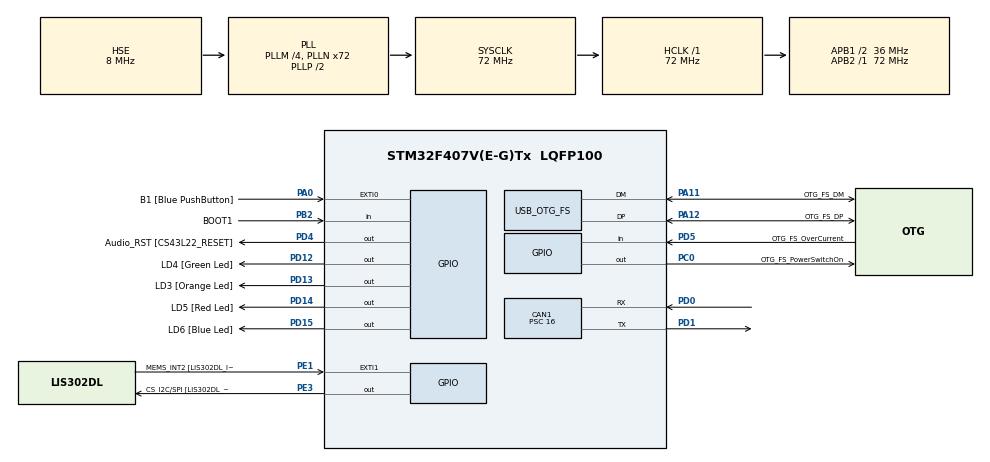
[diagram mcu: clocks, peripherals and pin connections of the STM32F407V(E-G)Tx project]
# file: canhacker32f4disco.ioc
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CAN1.BS1=CAN_BS1_4TQ
CAN1.BS2=CAN_BS2_4TQ
CAN1.CalculateBaudRate=250000
CAN1.CalculateTimeBit=3999.99
CAN1.CalculateTimeQuantum=444.44444444444446
CAN1.Prescaler=16
Mcu.Family=STM32F4
Mcu.Name=STM32F407V(E-G)Tx
Mcu.Package=LQFP100
NVIC.OTG_FS_IRQn=true\:0\:0\:false\:false\:true\:false\:true
NVIC.PriorityGroup=NVIC_PRIORITYGROUP_0
PA0-WKUP.GPIO_Label=B1 [Blue PushButton]
PA0-WKUP.Signal=GPXTI0
PA10.GPIO_Label=OTG_FS_ID
PA10.GPIO_Mode=GPIO_MODE_AF_PP
PA10.GPIO_PuPd=GPIO_NOPULL
PA10.GPIO_Speed=GPIO_SPEED_FREQ_LOW
PA10.Signal=USB_OTG_FS_ID
PA11.GPIO_Label=OTG_FS_DM
PA11.GPIO_Mode=GPIO_MODE_AF_PP
PA11.GPIO_PuPd=GPIO_NOPULL
PA11.GPIO_Speed=GPIO_SPEED_FREQ_LOW
PA11.Mode=Device_Only
PA11.Signal=USB_OTG_FS_DM
PA12.GPIO_Label=OTG_FS_DP
PA12.GPIO_Mode=GPIO_MODE_AF_PP
PA12.GPIO_PuPd=GPIO_NOPULL
PA12.GPIO_Speed=GPIO_SPEED_FREQ_LOW
PA12.Mode=Device_Only
PA12.Signal=USB_OTG_FS_DP
PA13.GPIO_Label=SWDIO
PA13.Signal=SYS_JTMS-SWDIO
PA14.GPIO_Label=SWCLK
PA14.Signal=SYS_JTCK-SWCLK
PA4.GPIO_Label=I2S3_WS [CS43L22_LRCK]
PA4.GPIO_Mode=GPIO_MODE_AF_PP
PA4.GPIO_PuPd=GPIO_NOPULL
PA4.GPIO_Speed=GPIO_SPEED_FREQ_LOW
PA4.Signal=I2S3_WS
PA5.GPIO_Label=SPI1_SCK [LIS302DL_SCL/SPC]
PA5.GPIO_Mode=GPIO_MODE_AF_PP
PA5.GPIO_PuPd=GPIO_NOPULL
PA5.GPIO_Speed=GPIO_SPEED_FREQ_LOW
PA5.Signal=SPI1_SCK
PA6.GPIO_Label=SPI1_MISO [LIS302DL_SDO]
PA6.GPIO_Mode=GPIO_MODE_AF_PP
PA6.GPIO_PuPd=GPIO_NOPULL
PA6.GPIO_Speed=GPIO_SPEED_FREQ_LOW
PA6.Signal=SPI1_MISO
PA7.GPIO_Label=SPI1_MOSI [LIS302DL_SDA/SDI/SDO]
PA7.GPIO_Mode=GPIO_MODE_AF_PP
PA7.GPIO_PuPd=GPIO_NOPULL
PA7.GPIO_Speed=GPIO_SPEED_FREQ_LOW
PA7.Signal=SPI1_MOSI
PA9.GPIO_Label=VBUS_FS
PA9.GPIO_Mode=GPIO_MODE_INPUT
PA9.GPIO_PuPd=GPIO_NOPULL
PA9.Signal=USB_OTG_FS_VBUS
PB10.GPIO_Label=CLK_IN [MP45DT02_CLK]
PB10.GPIO_Mode=GPIO_MODE_AF_PP
PB10.GPIO_PuPd=GPIO_NOPULL
PB10.GPIO_Speed=GPIO_SPEED_FREQ_LOW
PB10.Signal=I2S2_CK
PB2.GPIO_Label=BOOT1
PB2.GPIO_Mode=GPIO_MODE_INPUT
PB2.GPIO_PuPd=GPIO_NOPULL
PB2.Signal=GPIO_Input
PB3.GPIO_Label=SWO
PB3.Signal=SYS_JTDO-SWO
PB6.GPIO_Label=Audio_SCL [CS43L22_SCL]
PB6.GPIO_Mode=GPIO_MODE_AF_OD
PB6.GPIO_PuPd=GPIO_NOPULL
PB6.GPIO_Speed=GPIO_SPEED_FREQ_LOW
PB6.Signal=I2C1_SCL
PB9.GPIO_Label=Audio_SDA [CS43L22_SDA]
PB9.GPIO_Mode=GPIO_MODE_AF_OD
PB9.GPIO_PuPd=GPIO_NOPULL
PB9.GPIO_Speed=GPIO_SPEED_FREQ_LOW
PB9.Signal=I2C1_SDA
PC0.GPIO_Label=OTG_FS_PowerSwitchOn
PC0.GPIO_PuPd=GPIO_NOPULL
PC0.GPIO_Speed=GPIO_SPEED_FREQ_LOW
PC0.PinState=GPIO_PIN_SET
PC0.Signal=GPIO_Output
PC10.GPIO_Label=I2S3_SCK [CS43L22_SCLK]
PC10.GPIO_Mode=GPIO_MODE_AF_PP
PC10.GPIO_PuPd=GPIO_NOPULL
PC10.GPIO_Speed=GPIO_SPEED_FREQ_LOW
PC10.Signal=I2S3_CK
PC12.GPIO_Label=I2S3_SD [CS43L22_SDIN]
PC12.GPIO_Mode=GPIO_MODE_AF_PP
PC12.GPIO_PuPd=GPIO_NOPULL
PC12.GPIO_Speed=GPIO_SPEED_FREQ_LOW
PC12.Signal=I2S3_SD
PC14-OSC32_IN.GPIO_Label=PC14-OSC32_IN
PC14-OSC32_IN.Signal=RCC_OSC32_IN
PC15-OSC32_OUT.GPIO_Label=PC15-OSC32_OUT
PC15-OSC32_OUT.Signal=RCC_OSC32_OUT
PC3.GPIO_Label=PDM_OUT [MP45DT02_DOUT]
PC3.GPIO_Mode=GPIO_MODE_AF_PP
PC3.GPIO_PuPd=GPIO_NOPULL
PC3.GPIO_Speed=GPIO_SPEED_FREQ_LOW
PC3.Signal=I2S2_SD
PC7.GPIO_Label=I2S3_MCK [CS43L22_MCLK]
PC7.GPIO_Mode=GPIO_MODE_AF_PP
PC7.GPIO_PuPd=GPIO_NOPULL
PC7.GPIO_Speed=GPIO_SPEED_FREQ_LOW
PC7.Signal=I2S3_MCK
PD0.Mode=CAN_Activate
PD0.Signal=CAN1_RX
PD1.Mode=CAN_Activate
PD1.Signal=CAN1_TX
PD12.GPIO_Label=LD4 [Green Led]
PD12.GPIO_PuPd=GPIO_NOPULL
PD12.GPIO_Speed=GPIO_SPEED_FREQ_LOW
PD12.Signal=GPIO_Output
PD13.GPIO_Label=LD3 [Orange Led]
PD13.GPIO_PuPd=GPIO_NOPULL
PD13.GPIO_Speed=GPIO_SPEED_FREQ_LOW
PD13.Signal=GPIO_Output
PD14.GPIO_Label=LD5 [Red Led]
PD14.GPIO_PuPd=GPIO_NOPULL
PD14.GPIO_Speed=GPIO_SPEED_FREQ_LOW
PD14.Signal=GPIO_Output
PD15.GPIO_Label=LD6 [Blue Led]
PD15.GPIO_PuPd=GPIO_NOPULL
PD15.GPIO_Speed=GPIO_SPEED_FREQ_LOW
PD15.Signal=GPIO_Output
PD4.GPIO_Label=Audio_RST [CS43L22_RESET]
PD4.GPIO_PuPd=GPIO_NOPULL
PD4.GPIO_Speed=GPIO_SPEED_FREQ_LOW
PD4.Signal=GPIO_Output
PD5.GPIO_Label=OTG_FS_OverCurrent
PD5.GPIO_Mode=GPIO_MODE_INPUT
PD5.GPIO_PuPd=GPIO_NOPULL
PD5.Signal=GPIO_Input
PE1.GPIO_Label=MEMS_INT2 [LIS302DL_INT2]
PE1.GPIO_ModeDefaultEXTI=GPIO_MODE_EVT_RISING
PE1.GPIO_PuPd=GPIO_NOPULL
PE1.Signal=GPXTI1
PE3.GPIO_Label=CS_I2C/SPI [LIS302DL_CS_I2C/SPI]
PE3.GPIO_PuPd=GPIO_NOPULL
PE3.GPIO_Speed=GPIO_SPEED_FREQ_LOW
PE3.Signal=GPIO_Output
PH0-OSC_IN.GPIO_Label=PH0-OSC_IN
PH0-OSC_IN.Mode=HSE-External-Oscillator
PH0-OSC_IN.Signal=RCC_OSC_IN
PH1-OSC_OUT.GPIO_Label=PH1-OSC_OUT
PH1-OSC_OUT.Mode=HSE-External-Oscillator
PH1-OSC_OUT.Signal=RCC_OSC_OUT
ProjectManager.HeapSize=0x200
ProjectManager.StackSize=0x400
ProjectManager.TargetToolchain=EWARM V8.32
RCC.48MHZClocksFreq_Value=48000000
RCC.AHBFreq_Value=72000000
RCC.APB1CLKDivider=RCC_HCLK_DIV2
RCC.APB1Freq_Value=36000000
RCC.APB1TimFreq_Value=72000000
RCC.APB2Freq_Value=72000000
RCC.APB2TimFreq_Value=72000000
RCC.CortexFreq_Value=72000000
RCC.HCLKFreq_Value=72000000
RCC.HSE_VALUE=8000000
RCC.HSI_VALUE=16000000
RCC.LSE_VALUE=32768
RCC.PLLM=4
RCC.PLLN=72
RCC.PLLQ=3
RCC.SYSCLKFreq_VALUE=72000000
RCC.SYSCLKSource=RCC_SYSCLKSOURCE_PLLCLK
RCC.VCOOutputFreq_Value=144000000
TIM5.Period=999
TIM5.Prescaler=71
USB_DEVICE.CLASS_NAME_FS=CDC
USB_DEVICE.VirtualMode-CDC_FS=Cdc
USB_DEVICE.VirtualModeFS=Cdc_FS
USB_OTG_FS.VirtualMode=Device_Only
VP_TIM5_VS_ClockSourceINT.Mode=Internal
VP_USB_DEVICE_VS_USB_DEVICE_CDC_FS.Mode=CDC_FS
board=STM32F407G-DISC1

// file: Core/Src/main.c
/* USER CODE BEGIN Header */
/**
  ******************************************************************************
  * @file           : main.c
  * @brief          : Main program body
  ******************************************************************************
  * @attention
  *
  * <h2><center>&copy; Copyright (c) 2022 STMicroelectronics.
  * All rights reserved.</center></h2>
  *
  * This software component is licensed by ST under Ultimate Liberty license
  * SLA0044, the "License"; You may not use this file except in compliance with
  * the License. You may obtain a copy of the License at:
  *                             www.st.com/SLA0044
  *
  ******************************************************************************
  */
/* USER CODE END Header */
#include "main.h"
#include "can.h"
#include "tim.h"
#include "usb_device.h"
#include "gpio.h"

/* USER CODE BEGIN Includes */
#include "usbd_cdc_if.h"
#include "strings.h"
/* USER CODE END Includes */

/* USER CODE BEGIN PV */

uint32_t tim5cnt;
uint8_t bufferTextCan[256];
uint32_t ticStartLog;

CAN_TxHeaderTypeDef TxHeader;
CAN_RxHeaderTypeDef RxHeader;

uint8_t TxData[8];
uint8_t RxData[8];

uint32_t TxMailbox;
uint32_t mailBoxNum = 0;

uint8_t bufferCmd[128];

void HAL_CAN_RxFifo0MsgPendingCallback(CAN_HandleTypeDef *hcan)
{
	uint8_t sendLen;

	if (HAL_CAN_GetRxMessage(hcan, CAN_RX_FIFO0, &RxHeader, RxData) == HAL_OK)
	{
	    HAL_GPIO_WritePin(LD4_GPIO_Port, LD4_Pin, GPIO_PIN_SET);

		if (RxHeader.IDE == CAN_ID_EXT){
	        sendLen = sprintf((char*)bufferTextCan, "T%8.8X%1.1X", \
				(unsigned int)RxHeader.ExtId, \
				(unsigned int)RxHeader.DLC);
		}
		else{
	        sendLen = sprintf((char*)bufferTextCan, "t%3.3X%1.1X", \
				(unsigned int)RxHeader.StdId, \
				(unsigned int)RxHeader.DLC);
		}

		for (uint8_t cnt = 0; cnt < RxHeader.DLC; cnt ++)
		{
			sendLen += sprintf((char*)bufferTextCan + sendLen, "%2.2X", RxData[cnt]);
		}

		sendLen += sprintf((char*)bufferTextCan + sendLen, "%4.4X\r", (unsigned int)htim5.Instance->CNT);

	    tim5cnt = htim5.Instance->CNT;
	    CDC_Transmit_FS(bufferTextCan, sendLen);
	}
}

typedef enum
{
  CONVERT_ERROR = 0,
  CONVERT_OK
}ConvertReturnType;

uint8_t HexToHalfByte(uint8_t hex)
{
  if(hex >= '0' && hex <= '9')
    return hex - '0';
  else if(hex >= 'A' && hex <= 'F')
    return 10 + (hex - 'A');
  else if(hex >= 'a' && hex <= 'f')
    return 10 + (hex - 'a');

  return 0;
}

ConvertReturnType IsHex(uint8_t hex)
{
  if((hex >= '0' && hex <= '9') || (hex >= 'A' && hex <= 'F') || (hex >= 'a' && hex <= 'b'))
    return CONVERT_OK;

  return CONVERT_ERROR;
}

ConvertReturnType HexToByte(uint8_t * hex, uint8_t * data){
  *data = 0;

  for(uint8_t idx = 0; idx < 2; idx++)
  {
    if(IsHex(hex[idx]) == CONVERT_ERROR)
      return CONVERT_ERROR;

    *data |= (HexToHalfByte(hex[idx]) & 0xF) << (4 * (1-idx));
  }

  return CONVERT_OK;
}

uint16_t FindSymbol(uint8_t * string, uint8_t symbol){
  uint16_t index = 0;

  while(*string != symbol)
  {
    if(++index == 0xFFFF)
      return 0xFFFF;
    string++;
  }

  return index;
}

void CDC_Receive(uint8_t* Buf, uint32_t *Len){
	uint8_t sendLen = 0, byte;
	uint32_t id;

	switch(Buf[0])
	{
	  case 'L':
	    hcan1.Init.Mode = CAN_MODE_SILENT;
	  case 'O':
	    ticStartLog = HAL_GetTick();

	    htim5.Instance->CNT = 0;
	    HAL_TIM_Base_Start(&htim5);

	    while (HAL_CAN_Init(&hcan1) != HAL_OK)
	    {
	      HAL_CAN_DeInit(&hcan1);
	      HAL_Delay(100);
	    }

	    HAL_CAN_Start(&hcan1);
		HAL_CAN_ActivateNotification(&hcan1, CAN_IT_RX_FIFO0_MSG_PENDING);
	    break;

	  case 'V':
	    sendLen = sprintf((char*)bufferCmd,"V0093\r");
	    break;

	  case 'v':
	    sendLen = sprintf((char*)bufferCmd,"CanSee\r");
	    break;

	  case 'S':
	    switch(Buf[1])
	    {
	    // 10k = 110k
	    case '0':
	      hcan1.Init.Prescaler = 13;
	      hcan1.Init.SyncJumpWidth = CAN_SJW_1TQ;
	      hcan1.Init.TimeSeg1 = CAN_BS1_16TQ;
	      hcan1.Init.TimeSeg2 = CAN_BS2_8TQ;
	      break;
	    // 20k
	    case '1':
	      hcan1.Init.Prescaler = 150;
	      hcan1.Init.SyncJumpWidth = CAN_SJW_1TQ;
	      hcan1.Init.TimeSeg1 = CAN_BS1_6TQ;
	      hcan1.Init.TimeSeg2 = CAN_BS2_5TQ;
	      break;
	    // 50k
	    case '2':
	      hcan1.Init.Prescaler = 72;
	      hcan1.Init.SyncJumpWidth = CAN_SJW_1TQ;
	      hcan1.Init.TimeSeg1 = CAN_BS1_5TQ;
	      hcan1.Init.TimeSeg2 = CAN_BS2_4TQ;
	      break;
	    // 100k
	    case '3':
	      hcan1.Init.Prescaler = 36;
	      hcan1.Init.SyncJumpWidth = CAN_SJW_1TQ;
	      hcan1.Init.TimeSeg1 = CAN_BS1_5TQ;
	      hcan1.Init.TimeSeg2 = CAN_BS2_4TQ;
	      break;
	    // 125k
	    case '4':
	      hcan1.Init.Prescaler = 32;
	      hcan1.Init.SyncJumpWidth = CAN_SJW_1TQ;
	      hcan1.Init.TimeSeg1 = CAN_BS1_4TQ;
	      hcan1.Init.TimeSeg2 = CAN_BS2_4TQ;
	      break;
	    // 250k
	    case '5':
	      hcan1.Init.Prescaler = 16;
	      hcan1.Init.SyncJumpWidth = CAN_SJW_1TQ;
	      hcan1.Init.TimeSeg1 = CAN_BS1_4TQ;
	      hcan1.Init.TimeSeg2 = CAN_BS2_4TQ;
	      break;
	    // 500k
	    case '6':
	      hcan1.Init.Prescaler = 8;
	      hcan1.Init.SyncJumpWidth = CAN_SJW_1TQ;
	      hcan1.Init.TimeSeg1 = CAN_BS1_4TQ;
	      hcan1.Init.TimeSeg2 = CAN_BS2_4TQ;
	      break;
	    // 800k
	    case '7':
	      hcan1.Init.Prescaler = 5;
	      hcan1.Init.SyncJumpWidth = CAN_SJW_1TQ;
	      hcan1.Init.TimeSeg1 = CAN_BS1_4TQ;
	      hcan1.Init.TimeSeg2 = CAN_BS2_4TQ;
	      break;
	    // 1000k
	    case '8':
	      hcan1.Init.Prescaler = 4;
	      hcan1.Init.SyncJumpWidth = CAN_SJW_1TQ;
	      hcan1.Init.TimeSeg1 = CAN_BS1_4TQ;
	      hcan1.Init.TimeSeg2 = CAN_BS2_4TQ;
	      break;
	    }
	    break;

	  case 'T':
		HAL_GPIO_WritePin(LD4_GPIO_Port, LD4_Pin, GPIO_PIN_SET);

	    if(FindSymbol(Buf, '\r') <= 26)
	    {
	      TxHeader.IDE = CAN_ID_EXT;

	      HexToByte(&Buf[1], &byte);
	      id = byte << 24;
	      HexToByte(&Buf[3], &byte);
	      id |= byte << 16;
	      HexToByte(&Buf[5], &byte);
	      id |= byte << 8;
	      HexToByte(&Buf[7], &byte);
	      id |= byte;
	      TxHeader.ExtId = id;
	      TxHeader.RTR = CAN_RTR_DATA;

	      HexToByte(&Buf[8], &byte);
	      TxHeader.DLC = byte & 0x0F;

	      for(uint8_t idx = 0; idx < TxHeader.DLC; idx ++)
	      {
	        HexToByte(&Buf[10 + (idx * 2)], &byte);
	        TxData[idx] = byte;
	      }

	      if(HAL_CAN_GetTxMailboxesFreeLevel(&hcan1) > 0)
	        HAL_CAN_AddTxMessage(&hcan1, &TxHeader, TxData, &mailBoxNum);
	    }
	    break;

	  case 't':
		HAL_GPIO_WritePin(LD4_GPIO_Port, LD4_Pin, GPIO_PIN_SET);

	    if(FindSymbol(Buf, '\r') <= 26)
	    {
	      TxHeader.IDE = CAN_ID_STD;

	      HexToByte(&Buf[1], &byte);
	      id = byte << 4;
	      HexToByte(&Buf[3], &byte);
	      id |= byte >> 4;
	      TxHeader.StdId = id;
	      TxHeader.RTR = CAN_RTR_DATA;

	      TxHeader.DLC = byte & 0x0F;

	      for(uint8_t idx = 0; idx < TxHeader.DLC; idx ++)
	      {
	        HexToByte(&Buf[5 + (idx * 2)], &byte);
	        TxData[idx] = byte;
	      }

	      if(HAL_CAN_GetTxMailboxesFreeLevel(&hcan1) > 0)
	        HAL_CAN_AddTxMessage(&hcan1, &TxHeader, TxData, &mailBoxNum);
	    }
	    break;

	  case 'M':
		  break;

	  case 'm':
		  break;

	  case 's':
	    break;

	  case 'N':
	    sendLen = sprintf((char*)bufferCmd,"N9876\r");
	    break;

	  case 'R':
			HAL_GPIO_WritePin(LD4_GPIO_Port, LD4_Pin, GPIO_PIN_SET);

		    if(FindSymbol(Buf, '\r') <= 26)
		    {
		      TxHeader.IDE = CAN_ID_EXT;

		      HexToByte(&Buf[1], &byte);
		      id = byte << 24;
		      HexToByte(&Buf[3], &byte);
		      id |= byte << 16;
		      HexToByte(&Buf[5], &byte);
		      id |= byte << 8;
		      HexToByte(&Buf[7], &byte);
		      id |= byte;
		      TxHeader.ExtId = id;
		      TxHeader.RTR = CAN_RTR_REMOTE;

		      HexToByte(&Buf[8], &byte);
		      TxHeader.DLC = byte & 0x0F;

		      if(HAL_CAN_GetTxMailboxesFreeLevel(&hcan1) > 0)
		        HAL_CAN_AddTxMessage(&hcan1, &TxHeader, TxData, &mailBoxNum);
		    }
		    break;

	  case 'r':
			HAL_GPIO_WritePin(LD4_GPIO_Port, LD4_Pin, GPIO_PIN_SET);

		    if(FindSymbol(Buf, '\r') <= 26)
		    {
		      TxHeader.IDE = CAN_ID_STD;

		      HexToByte(&Buf[1], &byte);
		      id = byte << 4;
		      HexToByte(&Buf[3], &byte);
		      id |= byte >> 4;
		      TxHeader.StdId = id;
		      TxHeader.RTR = CAN_RTR_REMOTE;

		      TxHeader.DLC = byte & 0x0F;

		      if(HAL_CAN_GetTxMailboxesFreeLevel(&hcan1) > 0)
		        HAL_CAN_AddTxMessage(&hcan1, &TxHeader, TxData, &mailBoxNum);
		    }
		    break;

	  case 'C':
	    if(Buf[1] == '\r')
	    {
	      hcan1.Init.Mode = CAN_MODE_NORMAL;
	      HAL_CAN_DeInit(&hcan1);
	      HAL_TIM_Base_Stop(&htim5);

	      break;
	    }

	  default:
	    break;
	  }

	  if(sendLen > 0)
	  {
	    CDC_Transmit_FS(bufferCmd, sendLen);
	    sendLen = 0;
	  }
	  else
	  {
	    CDC_Transmit_FS(Buf, *Len);
	  }

}
/* USER CODE END PV */

void SystemClock_Config(void);

int main(void)
{

  /* MCU Configuration--------------------------------------------------------*/

  /* Reset of all peripherals, Initializes the Flash interface and the Systick. */
  HAL_Init();

  /* Configure the system clock */
  SystemClock_Config();

  /* Initialize all configured peripherals */
  MX_GPIO_Init();
  MX_CAN1_Init();
  MX_USB_DEVICE_Init();
  MX_TIM5_Init();
  /* USER CODE BEGIN 2 */
  CAN_FilterTypeDef  sFilterConfig;

  sFilterConfig.FilterActivation = ENABLE;
  sFilterConfig.FilterFIFOAssignment = CAN_RX_FIFO0;
  sFilterConfig.FilterMode = CAN_FILTERMODE_IDMASK;
  sFilterConfig.FilterScale = CAN_FILTERSCALE_32BIT;

  sFilterConfig.FilterBank = 0;
  sFilterConfig.FilterIdHigh = 0x00;
  sFilterConfig.FilterIdLow = 0x00;
  sFilterConfig.FilterMaskIdHigh = 0x00;
  sFilterConfig.FilterMaskIdLow = 0x00;

  if(HAL_CAN_ConfigFilter(&hcan1, &sFilterConfig) != HAL_OK)
  {
    Error_Handler();
  }

  HAL_CAN_Start(&hcan1);
  HAL_CAN_ActivateNotification(&hcan1, CAN_IT_RX_FIFO0_MSG_PENDING); // | CAN_IT_ERROR | CAN_IT_BUSOFF | CAN_IT_LAST_ERROR_CODE);

  TxHeader.ExtId = 0x123;
  TxHeader.IDE = CAN_ID_STD;
  TxHeader.DLC = 8;
  TxHeader.RTR = CAN_RTR_DATA;
  TxHeader.TransmitGlobalTime = DISABLE;

  /* USER CODE END 2 */

  /* Infinite loop */
  /* USER CODE BEGIN WHILE */
  while (1)
  {
	HAL_Delay(500);
    HAL_GPIO_WritePin(LD4_GPIO_Port, LD4_Pin, GPIO_PIN_RESET);

    /* USER CODE END WHILE */

  }
}

void SystemClock_Config(void)
{
  RCC_OscInitTypeDef RCC_OscInitStruct = {0};
  RCC_ClkInitTypeDef RCC_ClkInitStruct = {0};

  /** Configure the main internal regulator output voltage
  */
  __HAL_RCC_PWR_CLK_ENABLE();
  __HAL_PWR_VOLTAGESCALING_CONFIG(PWR_REGULATOR_VOLTAGE_SCALE1);
  /** Initializes the RCC Oscillators according to the specified parameters
  * in the RCC_OscInitTypeDef structure.
  */
  RCC_OscInitStruct.OscillatorType = RCC_OSCILLATORTYPE_HSE;
  RCC_OscInitStruct.HSEState = RCC_HSE_ON;
  RCC_OscInitStruct.PLL.PLLState = RCC_PLL_ON;
  RCC_OscInitStruct.PLL.PLLSource = RCC_PLLSOURCE_HSE;
  RCC_OscInitStruct.PLL.PLLM = 4;
  RCC_OscInitStruct.PLL.PLLN = 72;
  RCC_OscInitStruct.PLL.PLLP = RCC_PLLP_DIV2;
  RCC_OscInitStruct.PLL.PLLQ = 3;
  if (HAL_RCC_OscConfig(&RCC_OscInitStruct) != HAL_OK)
  {
    Error_Handler();
  }
  /** Initializes the CPU, AHB and APB buses clocks
  */
  RCC_ClkInitStruct.ClockType = RCC_CLOCKTYPE_HCLK|RCC_CLOCKTYPE_SYSCLK
                              |RCC_CLOCKTYPE_PCLK1|RCC_CLOCKTYPE_PCLK2;
  RCC_ClkInitStruct.SYSCLKSource = RCC_SYSCLKSOURCE_PLLCLK;
  RCC_ClkInitStruct.AHBCLKDivider = RCC_SYSCLK_DIV1;
  RCC_ClkInitStruct.APB1CLKDivider = RCC_HCLK_DIV2;
  RCC_ClkInitStruct.APB2CLKDivider = RCC_HCLK_DIV1;

  if (HAL_RCC_ClockConfig(&RCC_ClkInitStruct, FLASH_LATENCY_2) != HAL_OK)
  {
    Error_Handler();
  }
}

void Error_Handler(void)
{
  __disable_irq();
  while (1)
  {
  }
}

/************************ (C) COPYRIGHT STMicroelectronics *****END OF FILE****/
